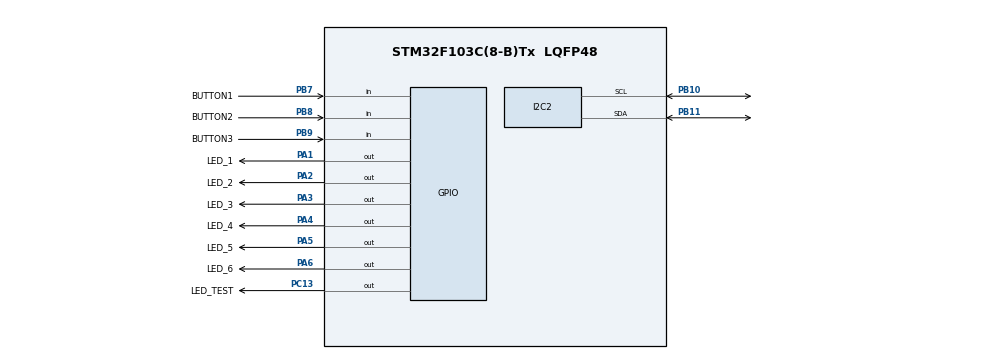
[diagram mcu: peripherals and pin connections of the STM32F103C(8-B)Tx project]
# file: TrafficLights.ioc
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Mcu.Family=STM32F1
Mcu.Name=STM32F103C(8-B)Tx
Mcu.Package=LQFP48
NVIC.PriorityGroup=NVIC_PRIORITYGROUP_4
NVIC.TIM3_IRQn=true\:0\:0\:false\:false\:true\:true\:true
PA1.GPIO_Label=LED_1
PA1.Signal=GPIO_Output
PA13.Mode=Serial_Wire
PA13.Signal=SYS_JTMS-SWDIO
PA14.Mode=Serial_Wire
PA14.Signal=SYS_JTCK-SWCLK
PA2.GPIO_Label=LED_2
PA2.Signal=GPIO_Output
PA3.GPIO_Label=LED_3
PA3.Signal=GPIO_Output
PA4.GPIO_Label=LED_4
PA4.Signal=GPIO_Output
PA5.GPIO_Label=LED_5
PA5.Signal=GPIO_Output
PA6.GPIO_Label=LED_6
PA6.Signal=GPIO_Output
PB10.Mode=I2C
PB10.Signal=I2C2_SCL
PB11.Mode=I2C
PB11.Signal=I2C2_SDA
PB7.GPIO_Label=BUTTON1
PB7.GPIO_PuPd=GPIO_PULLUP
PB7.Signal=GPIO_Input
PB8.GPIO_Label=BUTTON2
PB8.GPIO_PuPd=GPIO_PULLUP
PB8.Signal=GPIO_Input
PB9.GPIO_Label=BUTTON3
PB9.GPIO_PuPd=GPIO_PULLUP
PB9.Signal=GPIO_Input
PC13-TAMPER-RTC.GPIO_Label=LED_TEST
PC13-TAMPER-RTC.Signal=GPIO_Output
ProjectManager.HeapSize=0x200
ProjectManager.StackSize=0x400
ProjectManager.TargetToolchain=STM32CubeIDE
RCC.APB1Freq_Value=8000000
RCC.APB2Freq_Value=8000000
TIM3.Period=9
TIM3.Prescaler=7999
VP_TIM3_VS_ClockSourceINT.Mode=Internal
board=custom

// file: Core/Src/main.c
/* USER CODE BEGIN Header */
/**
  ******************************************************************************
  * @file           : main.c
  * @brief          : Main program body
  ******************************************************************************
  * @attention
  *
  * <h2><center>&copy; Copyright (c) 2024 STMicroelectronics.
  * All rights reserved.</center></h2>
  *
  * This software component is licensed by ST under BSD 3-Clause license,
  * the "License"; You may not use this file except in compliance with the
  * License. You may obtain a copy of the License at:
  *                        opensource.org/licenses/BSD-3-Clause
  *
  ******************************************************************************
  */
/* USER CODE END Header */
#include "main.h"

/* USER CODE BEGIN Includes */
#include "global.h"
#include "fsm_automatic.h"
#include "trafficLights.h"
#include "displayLCD.h"

/* USER CODE END Includes */

I2C_HandleTypeDef hi2c2;

TIM_HandleTypeDef htim3;

void SystemClock_Config(void);
static void MX_GPIO_Init(void);
static void MX_I2C2_Init(void);
static void MX_TIM3_Init(void);

int main(void)
{

  /* MCU Configuration--------------------------------------------------------*/

  /* Reset of all peripherals, Initializes the Flash interface and the Systick. */
  HAL_Init();

  /* Configure the system clock */
  SystemClock_Config();

  /* Initialize all configured peripherals */
  MX_GPIO_Init();
  MX_I2C2_Init();
  MX_TIM3_Init();
  /* USER CODE BEGIN 2 */

  HAL_TIM_Base_Start_IT(&htim3);

  /* USER CODE END 2 */

  /* Infinite loop */
  /* USER CODE BEGIN WHILE */
  setTimer1(1000);
  setTimerFor1Second(1000);
  status = START;
  lcd_init();
  lcd_clear_display();
//  int counter = 0;
//  uint32_t currentTime_count = 0;
//  uint32_t previousTime_count = 0;
  while (1)
  {
    /* USER CODE END WHILE */

    /* USER CODE BEGIN 3 */

	  fsm_automatic_run();
	  fsm_manual_run();

	  //===============TEST BUTTON=========================
//	  if (isButton1Pressed() == 1)
//	  {
//		  HAL_GPIO_TogglePin(LED_1_GPIO_Port, LED_1_Pin);
//	  }
//
//	  if (isButton2Pressed() == 1)
//	  {
//		  HAL_GPIO_TogglePin(LED_2_GPIO_Port, LED_2_Pin);
//	  }
//
//	  if (isButton3Pressed())
//	  {
//		  HAL_GPIO_TogglePin(LED_3_GPIO_Port, LED_3_Pin);
//	  }
	  //===============TEST BUTTON=========================

	  //===============TEST LCD============================
//	  lcd_goto_XY(1, 0);
//	  lcd_send_string("Hello");
//
//	  currentTime_count = HAL_GetTick();
//	  if (currentTime_count - previousTime_count >= 1000)
//	  {
//		  counter++;
//		  previousTime_count = currentTime_count;
//	  }
//
//	  lcd_goto_XY(2, 0);
//	  lcd_send_int(counter);

	  //===============TEST LCD============================

	  //===============TEST TRAFFIC LIGHTS==================
//	  turnOnRedGreen();
//	  HAL_Delay(1000);
//	  turnOnRedYellow();
//	  HAL_Delay(1000);
//	  turnOnGreenRed();
//	  HAL_Delay(1000);
//	  turnOnYellowRed();
//	  HAL_Delay(1000);
	  //===============TEST TRAFFIC LIGHTS==================

	  //===============TEST TIMER=======================
//	  if (timer1_flag == 1) {
//		  setTimer1(500);
//		  //TODO:
//		  HAL_GPIO_TogglePin(LED_TEST_GPIO_Port, LED_TEST_Pin);
//	  }
	  //===============TEST TIMER=======================

//=================TEST============================
//	  HAL_GPIO_WritePin(GPIOA, LED_1_Pin | LED_2_Pin | LED_3_Pin | LED_4_Pin | LED_5_Pin | LED_6_Pin, GPIO_PIN_SET);
//	  HAL_GPIO_TogglePin(LED_TEST_GPIO_Port, LED_TEST_Pin);
//	  HAL_Delay(1000);
//=================TEST============================
  }
  /* USER CODE END 3 */
}

void SystemClock_Config(void)
{
  RCC_OscInitTypeDef RCC_OscInitStruct = {0};
  RCC_ClkInitTypeDef RCC_ClkInitStruct = {0};

  /** Initializes the RCC Oscillators according to the specified parameters
  * in the RCC_OscInitTypeDef structure.
  */
  RCC_OscInitStruct.OscillatorType = RCC_OSCILLATORTYPE_HSI;
  RCC_OscInitStruct.HSIState = RCC_HSI_ON;
  RCC_OscInitStruct.HSICalibrationValue = RCC_HSICALIBRATION_DEFAULT;
  RCC_OscInitStruct.PLL.PLLState = RCC_PLL_NONE;
  if (HAL_RCC_OscConfig(&RCC_OscInitStruct) != HAL_OK)
  {
    Error_Handler();
  }
  /** Initializes the CPU, AHB and APB buses clocks
  */
  RCC_ClkInitStruct.ClockType = RCC_CLOCKTYPE_HCLK|RCC_CLOCKTYPE_SYSCLK
                              |RCC_CLOCKTYPE_PCLK1|RCC_CLOCKTYPE_PCLK2;
  RCC_ClkInitStruct.SYSCLKSource = RCC_SYSCLKSOURCE_HSI;
  RCC_ClkInitStruct.AHBCLKDivider = RCC_SYSCLK_DIV1;
  RCC_ClkInitStruct.APB1CLKDivider = RCC_HCLK_DIV1;
  RCC_ClkInitStruct.APB2CLKDivider = RCC_HCLK_DIV1;

  if (HAL_RCC_ClockConfig(&RCC_ClkInitStruct, FLASH_LATENCY_0) != HAL_OK)
  {
    Error_Handler();
  }
}

static void MX_I2C2_Init(void)
{

  hi2c2.Instance = I2C2;
  hi2c2.Init.ClockSpeed = 100000;
  hi2c2.Init.DutyCycle = I2C_DUTYCYCLE_2;
  hi2c2.Init.OwnAddress1 = 0;
  hi2c2.Init.AddressingMode = I2C_ADDRESSINGMODE_7BIT;
  hi2c2.Init.DualAddressMode = I2C_DUALADDRESS_DISABLE;
  hi2c2.Init.OwnAddress2 = 0;
  hi2c2.Init.GeneralCallMode = I2C_GENERALCALL_DISABLE;
  hi2c2.Init.NoStretchMode = I2C_NOSTRETCH_DISABLE;
  if (HAL_I2C_Init(&hi2c2) != HAL_OK)
  {
    Error_Handler();
  }

}

static void MX_TIM3_Init(void)
{

  TIM_ClockConfigTypeDef sClockSourceConfig = {0};
  TIM_MasterConfigTypeDef sMasterConfig = {0};

  htim3.Instance = TIM3;
  htim3.Init.Prescaler = 7999;
  htim3.Init.CounterMode = TIM_COUNTERMODE_UP;
  htim3.Init.Period = 9;
  htim3.Init.ClockDivision = TIM_CLOCKDIVISION_DIV1;
  htim3.Init.AutoReloadPreload = TIM_AUTORELOAD_PRELOAD_DISABLE;
  if (HAL_TIM_Base_Init(&htim3) != HAL_OK)
  {
    Error_Handler();
  }
  sClockSourceConfig.ClockSource = TIM_CLOCKSOURCE_INTERNAL;
  if (HAL_TIM_ConfigClockSource(&htim3, &sClockSourceConfig) != HAL_OK)
  {
    Error_Handler();
  }
  sMasterConfig.MasterOutputTrigger = TIM_TRGO_RESET;
  sMasterConfig.MasterSlaveMode = TIM_MASTERSLAVEMODE_DISABLE;
  if (HAL_TIMEx_MasterConfigSynchronization(&htim3, &sMasterConfig) != HAL_OK)
  {
    Error_Handler();
  }

}

static void MX_GPIO_Init(void)
{
  GPIO_InitTypeDef GPIO_InitStruct = {0};

  /* GPIO Ports Clock Enable */
  __HAL_RCC_GPIOC_CLK_ENABLE();
  __HAL_RCC_GPIOA_CLK_ENABLE();
  __HAL_RCC_GPIOB_CLK_ENABLE();

  /*Configure GPIO pin Output Level */
  HAL_GPIO_WritePin(LED_TEST_GPIO_Port, LED_TEST_Pin, GPIO_PIN_RESET);

  /*Configure GPIO pin Output Level */
  HAL_GPIO_WritePin(GPIOA, LED_1_Pin|LED_2_Pin|LED_3_Pin|LED_4_Pin
                          |LED_5_Pin|LED_6_Pin, GPIO_PIN_RESET);

  /*Configure GPIO pin : LED_TEST_Pin */
  GPIO_InitStruct.Pin = LED_TEST_Pin;
  GPIO_InitStruct.Mode = GPIO_MODE_OUTPUT_PP;
  GPIO_InitStruct.Pull = GPIO_NOPULL;
  GPIO_InitStruct.Speed = GPIO_SPEED_FREQ_LOW;
  HAL_GPIO_Init(LED_TEST_GPIO_Port, &GPIO_InitStruct);

  /*Configure GPIO pins : LED_1_Pin LED_2_Pin LED_3_Pin LED_4_Pin
                           LED_5_Pin LED_6_Pin */
  GPIO_InitStruct.Pin = LED_1_Pin|LED_2_Pin|LED_3_Pin|LED_4_Pin
                          |LED_5_Pin|LED_6_Pin;
  GPIO_InitStruct.Mode = GPIO_MODE_OUTPUT_PP;
  GPIO_InitStruct.Pull = GPIO_NOPULL;
  GPIO_InitStruct.Speed = GPIO_SPEED_FREQ_LOW;
  HAL_GPIO_Init(GPIOA, &GPIO_InitStruct);

  /*Configure GPIO pins : BUTTON1_Pin BUTTON2_Pin BUTTON3_Pin */
  GPIO_InitStruct.Pin = BUTTON1_Pin|BUTTON2_Pin|BUTTON3_Pin;
  GPIO_InitStruct.Mode = GPIO_MODE_INPUT;
  GPIO_InitStruct.Pull = GPIO_PULLUP;
  HAL_GPIO_Init(GPIOB, &GPIO_InitStruct);

}

/* USER CODE BEGIN 4 */
void HAL_TIM_PeriodElapsedCallback(TIM_HandleTypeDef *htim3)
{
	timerRun();
	getKeyInput();
}
/* USER CODE END 4 */

void Error_Handler(void)
{
  __disable_irq();
  while (1)
  {
  }
}

/************************ (C) COPYRIGHT STMicroelectronics *****END OF FILE****/
